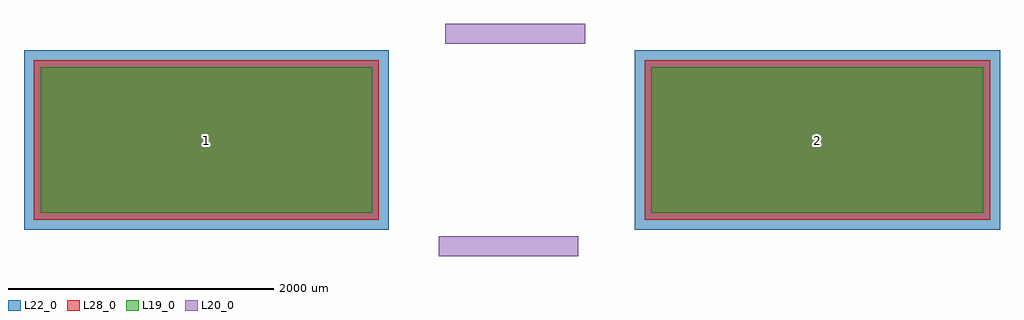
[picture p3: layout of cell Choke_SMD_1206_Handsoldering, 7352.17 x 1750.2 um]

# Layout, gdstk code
import gdstk
lib = gdstk.Library(unit=1e-6, precision=1e-09)
def R(c, l, rs):  # rectangles x0, y0, x1, y1
    for r in rs: c.add(gdstk.rectangle(r[:2], r[2:], *l))
L19_0 = (19, 0)
L20_0 = (20, 0)
L22_0 = (22, 0)
L28_0 = (28, 0)

choke_smd_1206_handsolde = lib.new_cell('Choke_SMD_1206_Handsoldering')
R(choke_smd_1206_handsolde, L19_0, [(-3550.45,-549.44,-1052.03,549.44), (1050.76,-549.44,3551.72,549.44)])
R(choke_smd_1206_handsolde, L22_0, [(-3675.45,-674.44,-927.03,674.44), (925.76,-674.44,3676.72,674.44)])
R(choke_smd_1206_handsolde, L28_0, [(-3600.45,-599.44,-1002.03,599.44), (1000.76,-599.44,3601.72,599.44)])
choke_smd_1206_handsolde.add(gdstk.FlexPath([(551.18,800.1),(-500.38,800.1)], 149.998, ends="flush", simple_path=True, layer=20, datatype=0))  # L20_0
choke_smd_1206_handsolde.add(gdstk.FlexPath([(-551.18,-800.1),(500.38,-800.1)], 149.998, ends="flush", simple_path=True, layer=20, datatype=0))  # L20_0
choke_smd_1206_handsolde.add(gdstk.Label('2', (2301.24,0), layer=28, texttype=0))
choke_smd_1206_handsolde.add(gdstk.Label('1', (-2301.24,0), layer=28, texttype=0))
choke_smd_1206_handsolde.add(gdstk.Label('type', (0,-2540), layer=9, texttype=0))
choke_smd_1206_handsolde.add(gdstk.Label('devicename', (0,2540), layer=9, texttype=0))

lib.write_gds('Choke_SMD_1206_Handsoldering.gds')
